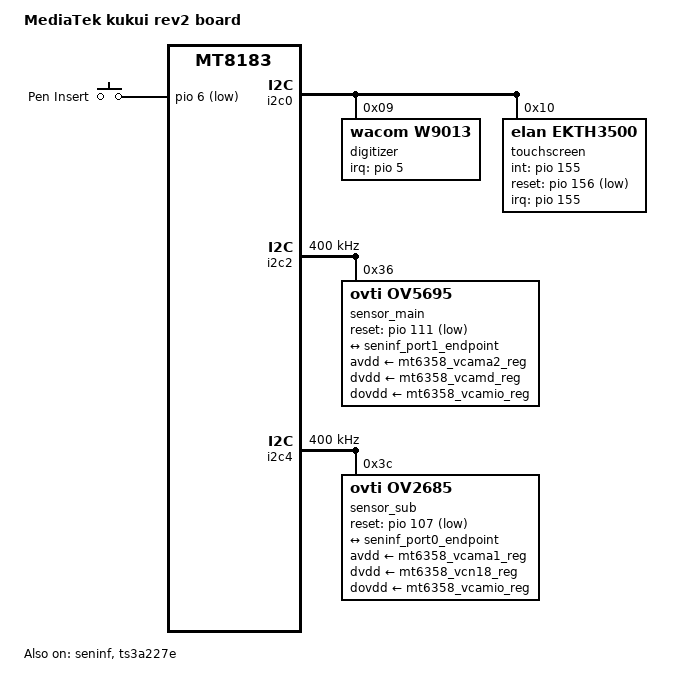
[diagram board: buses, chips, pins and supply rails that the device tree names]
// SPDX-License-Identifier: (GPL-2.0 OR MIT)
/*
 * Copyright (c) 2018 Google LLC
 */

/dts-v1/;
#include "mt8183-kukui.dtsi"

/ {
	model = "MediaTek kukui rev2 board";
	compatible = "google,kukui-rev2", "google,kukui", "mediatek,mt8183";

	gpio-keys {
		compatible = "gpio-keys";
		pinctrl-names = "default";
		pinctrl-0 = <&pen_eject>;

		pen-insert {
			label = "Pen Insert";
			/* Insert = low, eject = high */
			gpios = <&pio 6 GPIO_ACTIVE_LOW>;
			linux,code = <SW_PEN_INSERTED>;
			linux,input-type = <EV_SW>;
			wakeup-source;
		};
	};
};

&i2c0 {
	digitizer: digitizer@9 {
		compatible = "wacom,w9013", "hid-over-i2c";
		reg = <0x9>;
		pinctrl-names = "default";
		pinctrl-0 = <&pen_default>;

		interrupt-parent = <&pio>;
		interrupts = <5 IRQ_TYPE_LEVEL_LOW>;

		hid-descr-addr = <0x1>;
	};

	touchscreen: touchscreen@10 {
		compatible = "elan,ekth3500";
		reg = <0x10>;
		interrupt-parent = <&pio>;
		interrupts = <155 IRQ_TYPE_LEVEL_LOW>;
		int-gpio = <&pio 155 0>;
		pinctrl-names = "default";
		pinctrl-0 = <&touch_default>;

		reset-gpios = <&pio 156 1>;
	};
};

&i2c2 {
	pinctrl-names = "default";
	pinctrl-0 = <&i2c2_pins>;
	status = "okay";
	clock-frequency = <400000>;

	sensor_main: sensor_main {
		compatible = "ovti,ov5695";
		reg = <0x36>;

		clocks = <&topckgen CLK_TOP_MUX_CAMTG>,
			 <&topckgen CLK_TOP_UNIVP_192M_D8>;
		clock-names = "xvclk", "freq_mux";

		assigned-clocks = <&topckgen CLK_TOP_MUX_CAMTG>,
				  <&topckgen CLK_TOP_UNIVP_192M_D8>;
		assigned-clock-parents = <&topckgen CLK_TOP_UNIVP_192M_D8>;
		assigned-clock-rates = <0>, <24000000>;

		reset-gpios = <&pio 111 1>;
		pinctrl-names = "default";
		pinctrl-0 = <&camera_pins_cam0>;

		avdd-supply = <&mt6358_vcama2_reg>;
		dvdd-supply = <&mt6358_vcamd_reg>;
		dovdd-supply = <&mt6358_vcamio_reg>;

		port {
			ov5695_endpoint: endpoint {
				data-lanes = <1 3>;
				remote-endpoint = <&seninf_port1_endpoint>;
			};
		};
	};
};

&i2c4 {
	pinctrl-names = "default";
	pinctrl-0 = <&i2c4_pins>;
	status = "okay";
	clock-frequency = <400000>;

	sensor_sub: sensor_sub {
		compatible = "ovti,ov2685";
		reg = <0x3c>;

		clocks = <&topckgen CLK_TOP_MUX_CAMTG2>,
			 <&topckgen CLK_TOP_UNIVP_192M_D8>;
		clock-names = "xvclk", "freq_mux";

		assigned-clocks = <&topckgen CLK_TOP_MUX_CAMTG2>,
				  <&topckgen CLK_TOP_UNIVP_192M_D8>;
		assigned-clock-parents = <&topckgen CLK_TOP_UNIVP_192M_D8>;
		assigned-clock-rates = <0>, <24000000>;

		reset-gpios = <&pio 107 1>;
		pinctrl-names = "default";
		pinctrl-0 = <&camera_pins_cam1>;

		avdd-supply = <&mt6358_vcama1_reg>;
		dvdd-supply = <&mt6358_vcn18_reg>;
		dovdd-supply = <&mt6358_vcamio_reg>;

		port {
			ov2685_endpoint: endpoint {
				data-lanes = <1 3>;
				remote-endpoint = <&seninf_port0_endpoint>;
			};
		};
	};
};

&it6505dptx {
	/delete-property/ no-laneswap;
};

&pio {
	/* 192 lines */
	gpio-line-names =
		"SPI_AP_EC_CS_L",
		"SPI_AP_EC_MOSI",
		"SPI_AP_EC_CLK",
		"I2S3_DO",
		"USB_PD_INT_ODL",
		"",
		"",
		"",
		"",
		"IT6505_HPD_L",
		"I2S3_TDM_D3",
		"SOC_I2C6_1V8_SCL",
		"SOC_I2C6_1V8_SDA",
		"DPI_D0",
		"DPI_D1",
		"DPI_D2",
		"DPI_D3",
		"DPI_D4",
		"DPI_D5",
		"DPI_D6",
		"DPI_D7",
		"DPI_D8",
		"DPI_D9",
		"DPI_D10",
		"DPI_D11",
		"DPI_HSYNC",
		"DPI_VSYNC",
		"DPI_DE",
		"DPI_CK",
		"AP_MSDC1_CLK",
		"AP_MSDC1_DAT3",
		"AP_MSDC1_CMD",
		"AP_MSDC1_DAT0",
		"AP_MSDC1_DAT2",
		"AP_MSDC1_DAT1",
		"",
		"",
		"",
		"",
		"",
		"",
		"OTG_EN",
		"DRVBUS",
		"DISP_PWM",
		"DSI_TE",
		"LCM_RST_1V8",
		"AP_CTS_WIFI_RTS",
		"AP_RTS_WIFI_CTS",
		"SOC_I2C5_1V8_SCL",
		"SOC_I2C5_1V8_SDA",
		"SOC_I2C3_1V8_SCL",
		"SOC_I2C3_1V8_SDA",
		"",
		"",
		"",
		"",
		"",
		"",
		"",
		"",
		"",
		"",
		"",
		"",
		"",
		"",
		"",
		"",
		"",
		"",
		"",
		"",
		"",
		"",
		"",
		"",
		"",
		"",
		"",
		"",
		"",
		"SOC_I2C1_1V8_SDA",
		"SOC_I2C0_1V8_SDA",
		"SOC_I2C0_1V8_SCL",
		"SOC_I2C1_1V8_SCL",
		"AP_SPI_H1_MISO",
		"AP_SPI_H1_CS_L",
		"AP_SPI_H1_MOSI",
		"AP_SPI_H1_CLK",
		"I2S5_BCK",
		"I2S5_LRCK",
		"I2S5_DO",
		"BOOTBLOCK_EN_L",
		"MT8183_KPCOL0",
		"SPI_AP_EC_MISO",
		"UART_DBG_TX_AP_RX",
		"UART_AP_TX_DBG_RX",
		"I2S2_MCK",
		"I2S2_BCK",
		"CLK_5M_WCAM",
		"CLK_2M_UCAM",
		"I2S2_LRCK",
		"I2S2_DI",
		"SOC_I2C2_1V8_SCL",
		"SOC_I2C2_1V8_SDA",
		"SOC_I2C4_1V8_SCL",
		"SOC_I2C4_1V8_SDA",
		"",
		"SCL8",
		"SDA8",
		"FCAM_PWDN_L",
		"",
		"",
		"",
		"",
		"",
		"",
		"",
		"",
		"",
		"",
		"",
		"",
		"",
		"",
		"",
		"",
		"",
		"",
		"",
		"",
		"",
		"",
		"",
		"",
		"",
		"I2S_PMIC",
		"I2S_PMIC",
		"I2S_PMIC",
		"I2S_PMIC",
		"I2S_PMIC",
		"I2S_PMIC",
		"I2S_PMIC",
		"I2S_PMIC",
		"",
		"",
		"",
		"",
		"",
		"",
		/*
		 * AP_FLASH_WP_L is crossystem ABI. Rev1 schematics
		 * call it BIOS_FLASH_WP_R_L.
		 */
		"AP_FLASH_WP_L",
		"EC_AP_INT_ODL",
		"IT6505_INT_ODL",
		"H1_INT_OD_L",
		"",
		"",
		"",
		"",
		"",
		"",
		"",
		"AP_SPI_FLASH_MISO",
		"AP_SPI_FLASH_CS_L",
		"AP_SPI_FLASH_MOSI",
		"AP_SPI_FLASH_CLK",
		"DA7219_IRQ",
		"",
		"",
		"",
		"",
		"",
		"",
		"",
		"",
		"",
		"",
		"",
		"",
		"",
		"",
		"",
		"",
		"",
		"",
		"",
		"",
		"",
		"",
		"",
		"",
		"",
		"";

	pen_default: pendefault {
		pen_int_odl {
			pinmux = <PINMUX_GPIO5__FUNC_GPIO5>;
			input-enable;
			bias-pull-up;
		};

		pen_reset_odl {
			pinmux = <PINMUX_GPIO53__FUNC_GPIO53>;

			/*
			 * The pen driver doesn't currently support  driving
			 * this reset line.  By specifying output-high here
			 * we're relying on the fact that this pin has a default
			 * pulldown at boot (which makes sure the pen was in
			 * reset if it was powered) and then we set it high here
			 * to take it out of reset.  Better would be if the pen
			 * driver could control this and we could remove
			 * "output-high" here.
			 */
			output-high;
		};
	};

	pen_eject: peneject {
		pen_eject {
			pinmux = <PINMUX_GPIO6__FUNC_GPIO6>;
			input-enable;
			/* External pull-up. */
			bias-disable;
		};
	};

	touch_default: touchdefault {
		pin_irq {
			pinmux = <PINMUX_GPIO155__FUNC_GPIO155>;
			input-enable;
			bias-pull-up;
		};

		touch_pin_reset: pin_reset {
			pinmux = <PINMUX_GPIO156__FUNC_GPIO156>;
			output-low;
		};
	};
};

&scp_pins {
	/* EINT pins are used for other purpose on rev2. */
	/delete-node/ pins_eint;
};

&seninf {
	status = "okay";

	ports {
		port@0 {
			reg = <0>;

			seninf_port0_endpoint: endpoint {
				data-lanes = <1 3>;
				remote-endpoint = <&ov2685_endpoint>;
			};
		};

		port@1 {
			reg = <1>;

			seninf_port1_endpoint: endpoint {
				data-lanes = <1 3>;
				remote-endpoint = <&ov5695_endpoint>;
			};
		};
	};
};

&sound {
	mediatek,headset-codec = <&ts3a227e>;
};

&tboard_thermistor1 {
	temperature-lookup-table = <	(-5000) 2690
					0 2348
					5000 2021
					10000 1718
					15000 1447
					20000 1207
					25000 1002
					30000 830
					35000 685
					40000 565
					45000 467
					50000 385
					55000 319
					60000 265
					65000 221
					70000 183
					75000 153
					80000 128
					85000 109
					90000 93
					95000 79
					100000 68
					105000 57
					110000 49
					115000 41
					120000 35
					125000 33>;
};

&tboard_thermistor2 {
	temperature-lookup-table = <	(-5000) 2690
					0 2348
					5000 2021
					10000 1718
					15000 1447
					20000 1207
					25000 1002
					30000 830
					35000 685
					40000 565
					45000 467
					50000 385
					55000 319
					60000 265
					65000 221
					70000 183
					75000 153
					80000 128
					85000 109
					90000 93
					95000 79
					100000 68
					105000 57
					110000 49
					115000 41
					120000 35
					125000 33>;
};

&ts3a227e {
	status = "okay";
};
